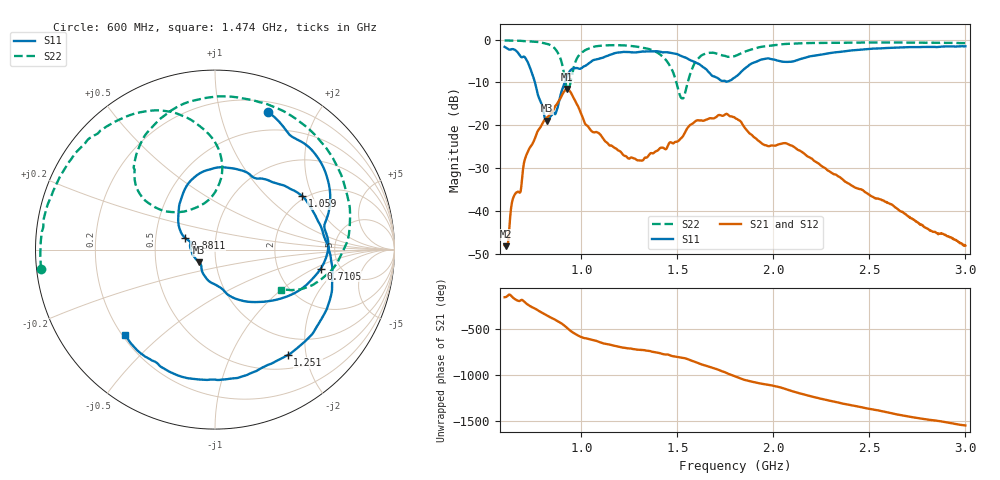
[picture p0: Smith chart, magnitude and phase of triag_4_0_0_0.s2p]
#  HZ  S  RI  R  50.00
! Rohde & Schwarz ZVB8 2Ports - Version 2.81 - 1145.1010k08 SN: 100113
! Date: 2016-05-03 01:36:56
! Measurements: S11 S21 S12 S22
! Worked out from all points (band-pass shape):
!   1000 points, 600 MHz to 3 GHz, reference 50 ohm
!   highest |S21| = -11.50 dB at 926.7 MHz (marker M1); lowest = -48.1 dB at 607.2 MHz (marker M2)
!   |S21| within 3 dB of the highest: 879.6 MHz to 969.5 MHz (89.89 MHz wide, 9.72 % of centre)
!   lowest |S11| = -18.9 dB at 821 MHz (marker M3), VSWR 1.26, Z = 41.5 - j6.02 ohm
!   |S11| at or under -10 dB: 758.1 MHz to 913.3 MHz (155.3 MHz wide, 18.6 % of centre)
!   |S22| runs from -13.7 to -0.2 dB; largest |S21 - S12| = 0.0014
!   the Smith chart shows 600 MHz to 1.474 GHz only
!   S11 on the Smith chart (normalised r, x): 600 MHz: 0.30, +1.42; 710.5 MHz: 3.57, -1.18; 881.1 MHz: 0.71, +0.10; 1.059 GHz: 1.92, +1.69; 1.251 GHz: 0.70, -1.68; 1.474 GHz: 0.21, -0.38
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6e8  0.2972 0.7667  -0.00378 -0.00132  -0.00378 -0.00137  -0.969 -0.1101
6.072072e8  0.3423 0.7278  -0.00364 -0.00146  -0.00361 -0.00151  -0.9714 -0.0765
7.105105e8  0.5894 -0.1061  -0.0307 0.0309  -0.0311 0.0303  -0.8865 0.3589
8.21021e8  -0.0879 -0.0715  0.1238 -0.000819  0.1235 -0.000335  -0.4932 0.7418
8.810811e8  -0.1672 0.0658  0.0783 -0.1735  0.0786 -0.1729  -0.0661 0.6728
9.267267e8  -0.1683 0.3363  -0.1881 -0.1882  -0.1868 -0.1888  -0.081 0.2455
1.001201e9  0.2441 0.3962  -0.0797 0.1061  -0.0801 0.1054  -0.4287 0.5567
1.058859e9  0.4874 0.2971  -0.0105 0.0831  -0.0109 0.083  -0.2345 0.7811
1.164565e9  0.6533 -0.1975  0.0445 0.0348  0.0441 0.0349  0.2441 0.8224
1.251051e9  0.4053 -0.5876  0.0409 0.00463  0.0408 0.00468  0.5791 0.6136
1.4e9  -0.2477 -0.6833  0.0388 -0.0341  0.0389 -0.0339  0.6919 -0.051
1.474474e9  -0.5007 -0.4772  0.0136 -0.0605  0.0139 -0.0603  0.3697 -0.2225
1.524925e9  -0.572 -0.2767  -0.00551 -0.0726  -0.0052 -0.0725  0.2055 -0.0208
1.577778e9  -0.553 -0.0991  -0.0659 -0.0807  -0.0655 -0.0808  0.4327 0.1645
1.647447e9  -0.4504 0.0685  -0.1161 0.000614  -0.1161 6.82e-05  0.6742 -0.1333
1.801201e9  -0.3645 0.0239  0.055 0.1083  0.0543 0.1083  0.4453 -0.4649
1.935736e9  -0.4845 0.3255  0.0605 -0.0159  0.0604 -0.0157  0.2391 -0.7856
2.2e9  0.1094 0.6333  -0.037 -0.0179  -0.0367 -0.0179  -0.5493 -0.7265
2.423423e9  0.7334 0.1725  -0.00493 0.0183  -0.00498 0.0183  -0.8834 -0.2576
2.601201e9  0.5931 -0.5349  0.0105 0.00656  0.0105 0.00654  -0.9089 0.158
2.786186e9  -0.0675 -0.8165  0.00514 -0.004  0.0052 -0.00399  -0.7313 0.553
3e9  -0.7098 -0.437  -0.00115 -0.00381  -0.00105 -0.00376  -0.3261 0.8473
